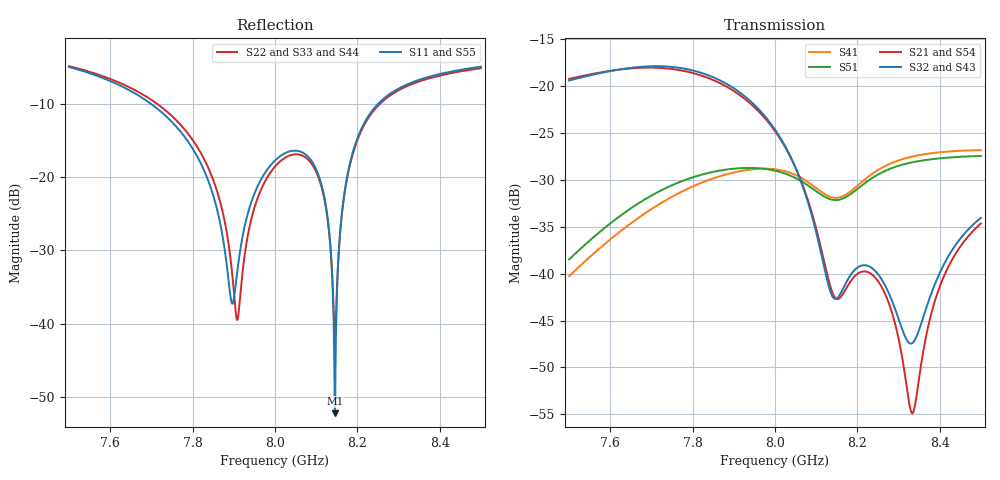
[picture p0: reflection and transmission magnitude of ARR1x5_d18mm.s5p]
! Touchstone file exported from HFSS 2025.1.0
!  File:  C:/Users/user/Documents/Ansoft/TFG_UWB-MIMO-Array.aedt
!  Generated:  09:03:15 PM Nov 21, 2026
!  Design:  ARR1x5_US3_PS4_2_1_dparam
!  Project:  TFG_UWB-MIMO-Array
!  Setup:  Setup_ch9
!  Solution:  Sweep_7p5_8p5
! Variables:
!  arr_d = 18mm
!  board_m = 13mm
!  board_x = 98mm
!  board_y = 26mm
!  cu_t = 0.035mm
!  line_w = 3.92mm
!  pad_xy = 22mm
!  pad_zn = 25mm
!  pad_zp = 33mm
!  par_L = 7.46mm
!  par_W = 10mm
!  par_yc = 0.75mm
!  par_z = 1.035mm
!  patch_L = 6.222mm
!  patch_W = 11.421266mm
!  sub_h = 2.07mm
!  tr_l = 6.6mm
!  tr_w = 0.8mm
!  u_Lu = 2.65mm
!  u_Wu = 4.4mm
!  u_t = 0.8mm
!  u_y0 = -0.7mm
# GHz S MA R 50.000000
! Terminal data exported
! Port[1] = P1
! Port[2] = P2
! Port[3] = P3
! Port[4] = P4
! Port[5] = P5
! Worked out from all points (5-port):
!   1001 points, 7.5 GHz to 8.5 GHz, reference 50 ohm
!   strongest paths, dB at 7.5 GHz, 7.75 GHz, 8 GHz, 8.25 GHz, 8.5 GHz:
!     S32: -19.4, -18.0, -24.7, -40.0, -34.1
!     S43: -19.4, -18.0, -24.7, -40.1, -34.0
!     S21: -19.3, -18.2, -24.8, -40.8, -34.7
!     S54: -19.3, -18.2, -24.9, -40.9, -34.6
!     S51: -38.5, -30.6, -29.0, -29.5, -27.5
!     S41: -40.3, -31.8, -28.9, -29.0, -26.8
!   lowest |S11| = -52.3 dB at 8.146 GHz (marker M1), VSWR 1.00, Z = 50.2 + j0.0478 ohm
!   |S11| at or under -10 dB: 7.7 GHz to 8.25 GHz (550 MHz wide, 6.9 % of centre)
